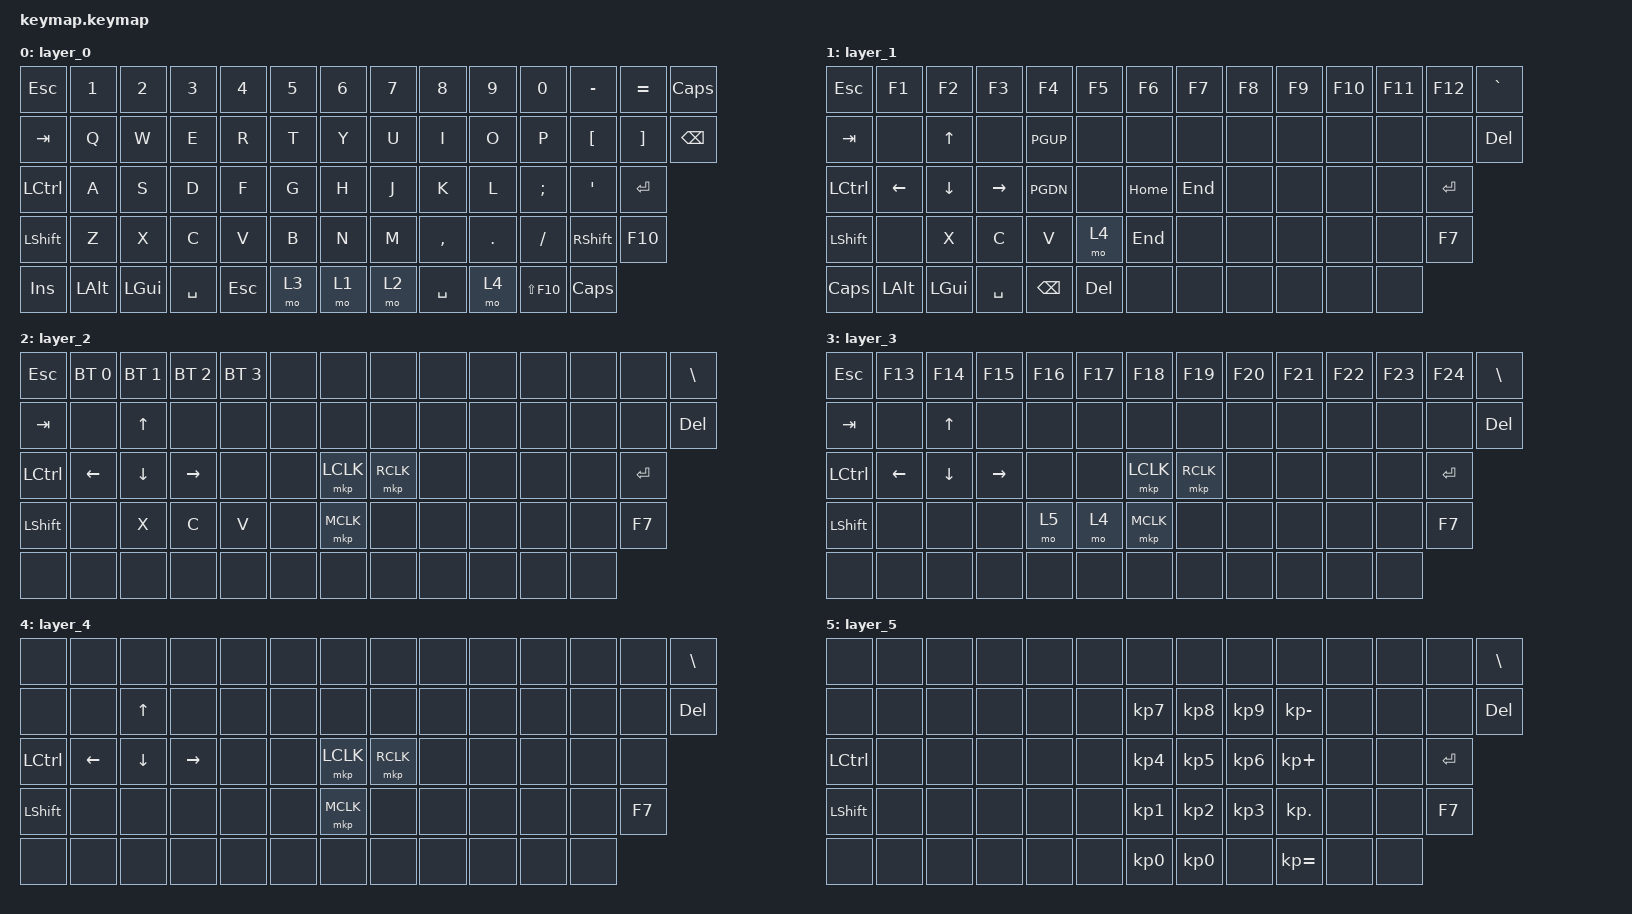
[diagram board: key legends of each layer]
#include <behaviors.dtsi>
#include <dt-bindings/zmk/keys.h>
#include <dt-bindings/zmk/mouse.h>
#include <dt-bindings/zmk/bt.h>

/ {
/*
    behaviors {
        paw_mode: paw_mode {
            compatible = "paw32xx,mode";
            label = "PAW_MODE";
            #binding-cells = <1>;
        };
    };
*/

    keymap {
        compatible = "zmk,keymap";

        layer_0 {
            bindings = <
    //            [Col_L1]   [Col_L2] [Col_L3]   [Col_L4]   [Col_L5]   [Col_L6]           [Col_R1]     [Col_R2]    [Col_R3]     [Col_R4]        [Col_R5]     [Col_R6]    [Col_R7]  [Col_R8]   [Col_R9]
    /* [Row_1] */ &kp ESC    &kp N1   &kp N2     &kp N3     &kp N4     &kp N5                          &kp N6      &kp N7       &kp N8          &kp N9       &kp N0      &kp MINUS &kp EQUAL  &kp CAPS
    /* [Row_2] */ &kp TAB    &kp Q    &kp W      &kp E      &kp R      &kp T                           &kp Y       &kp U        &kp I           &kp O        &kp P       &kp LBKT  &kp RBKT   &kp BSPC
    /* [Row_3] */ &kp LCTRL  &kp A    &kp S      &kp D      &kp F      &kp G                           &kp H       &kp J        &kp K           &kp L        &kp SEMI    &kp SQT   &kp ENTER
    /* [Row_4] */ &kp LSHFT  &kp Z    &kp X      &kp C      &kp V      &kp B                           &kp N       &kp M        &kp COMMA       &kp DOT      &kp FSLH    &kp RSHFT &kp F10
    /* [Row_5] */ &kp INSERT &kp LALT &kp LGUI   &kp SPACE  &kp ESC    &mo 3               &mo 1       &mo 2       &kp SPACE    &mo 4           &kp LS(F10)  &kp CAPS
            >;
        };

        layer_1 {
            bindings = <
    //            [Col_L1]   [Col_L2] [Col_L3]   [Col_L4]   [Col_L5]   [Col_L6]           [Col_R1]     [Col_R2]    [Col_R3]     [Col_R4]        [Col_R5]     [Col_R6]    [Col_R7]  [Col_R8]   [Col_R9]
    /* [Row_1] */ &kp ESC    &kp F1   &kp F2     &kp F3     &kp F4     &kp F5                          &kp F6      &kp F7       &kp F8          &kp F9       &kp F10     &kp F11   &kp F12    &kp GRAVE
    /* [Row_2] */ &kp TAB    &none    &kp UP     &none      &kp PGUP   &none                           &none       &none        &none           &none        &none       &none     &none      &kp DELETE
    /* [Row_3] */ &kp LCTRL  &kp LEFT &kp DOWN   &kp RIGHT  &kp PGDN   &none                           &kp HOME    &kp END      &none           &none        &none       &none     &kp ENTER
    /* [Row_4] */ &kp LSHFT  &none    &kp X      &kp C      &kp V      &mo 4                           &kp END     &none        &none           &none        &none       &none     &kp F7
    /* [Row_5] */ &kp CAPS   &kp LALT &kp LGUI   &kp SPACE  &kp BSPC   &kp DELETE         &none        &none       &none        &none           &none        &none
            >;
        };

        layer_2 {
            bindings = <
    //            [Col_L1]   [Col_L2]     [Col_L3]     [Col_L4]     [Col_L5]     [Col_L6]             [Col_R1]   [Col_R2]    [Col_R3]     [Col_R4]        [Col_R5]     [Col_R6]    [Col_R7]  [Col_R8]   [Col_R9]
    /* [Row_1] */ &kp ESC    &bt BT_SEL 0 &bt BT_SEL 1 &bt BT_SEL 2 &bt BT_SEL 3 &none                           &none       &none        &none           &none        &none       &none     &none      &kp BSLH
    /* [Row_2] */ &kp TAB    &none        &kp UP       &none        &none        &none                           &none       &none        &none           &none        &none       &none     &none      &kp DELETE
    /* [Row_3] */ &kp LCTRL  &kp LEFT     &kp DOWN     &kp RIGHT    &none        &none                           &mkp LCLK   &mkp RCLK    &none           &none        &none       &none     &kp ENTER
    /* [Row_4] */ &kp LSHFT  &none        &kp X        &kp C        &kp V        &none                           &mkp MCLK   &none        &none           &none        &none       &none     &kp F7
    /* [Row_5] */ &none      &none        &none        &none        &none        &none                &none      &none       &none        &none           &none        &none
            >;
        };

        layer_3 {   // SNIPEレイヤー
            bindings = <
    //            [Col_L1]   [Col_L2] [Col_L3]   [Col_L4]   [Col_L5]   [Col_L6]           [Col_R1]     [Col_R2]    [Col_R3]     [Col_R4]        [Col_R5]     [Col_R6]    [Col_R7]  [Col_R8]   [Col_R9]
    /* [Row_1] */ &kp ESC    &kp F13  &kp F14    &kp F15    &kp F16    &kp F17                         &kp F18     &kp F19      &kp F20         &kp F21      &kp F22     &kp F23   &kp F24    &kp BSLH
    /* [Row_2] */ &kp TAB    &none    &kp UP     &none      &none      &none                           &none       &none        &none           &none        &none       &none     &none      &kp DELETE
    /* [Row_3] */ &kp LCTRL  &kp LEFT &kp DOWN   &kp RIGHT  &none      &none                           &mkp LCLK   &mkp RCLK    &none           &none        &none       &none     &kp ENTER
    /* [Row_4] */ &kp LSHFT  &none    &none      &none      &mo 5      &mo 4                           &mkp MCLK   &none        &none           &none        &none       &none     &kp F7
    /* [Row_5] */ &none      &none    &none      &none      &none      &none              &none        &none       &none        &none           &none        &none
            >;
        };

        layer_4 {   // SCROLLレイヤー
            bindings = <
    //            [Col_L1]   [Col_L2] [Col_L3]   [Col_L4]   [Col_L5]   [Col_L6]          [Col_R1]   [Col_R2]    [Col_R3]     [Col_R4]        [Col_R5]     [Col_R6]    [Col_R7]  [Col_R8]   [Col_R9]
    /* [Row_1] */ &none      &none    &none      &none      &none      &none                        &none       &none        &none           &none        &none       &none     &none      &kp BSLH
    /* [Row_2] */ &none      &none    &kp UP     &none      &none      &none                                     &none       &none        &none           &none        &none       &none     &none      &kp DELETE
    /* [Row_3] */ &kp LCTRL  &kp LEFT &kp DOWN   &kp RIGHT  &none      &none                                     &mkp LCLK   &mkp RCLK    &none           &none        &none       &none     &none
    /* [Row_4] */ &kp LSHFT  &none    &none      &none      &none      &none                                     &mkp MCLK   &none        &none           &none        &none       &none     &kp F7
    /* [Row_5] */ &none      &none    &none      &none      &none      &none              &none       &none      &none       &none        &none           &none
            >;
        };

        layer_5 {   // テンキーレイヤー
            bindings = <
    //            [Col_L1]   [Col_L2] [Col_L3]   [Col_L4]   [Col_L5]   [Col_L6]           [Col_R1]     [Col_R2]    [Col_R3]     [Col_R4]        [Col_R5]     [Col_R6]    [Col_R7]  [Col_R8]   [Col_R9]
    /* [Row_1] */ &none      &none    &none      &none      &none      &none                           &none       &none        &none           &none        &none       &none     &none      &kp BSLH
    /* [Row_2] */ &none      &none    &none      &none      &none      &none                           &kp KP_N7   &kp KP_N8    &kp KP_N9       &kp KP_MINUS &none       &none     &none      &kp DELETE
    /* [Row_3] */ &kp LCTRL  &none    &none      &none      &none      &none                           &kp KP_N4   &kp KP_N5    &kp KP_N6       &kp KP_PLUS  &none       &none     &kp ENTER
    /* [Row_4] */ &kp LSHFT  &none    &none      &none      &none      &none                           &kp KP_N1   &kp KP_N2    &kp KP_N3       &kp KP_DOT   &none       &none     &kp F7
    /* [Row_5] */ &none      &none    &none      &none      &none      &none              &kp KP_N0    &kp KP_N0   &none        &kp KP_EQUAL    &none        &none
            >;
        };
    };
};
